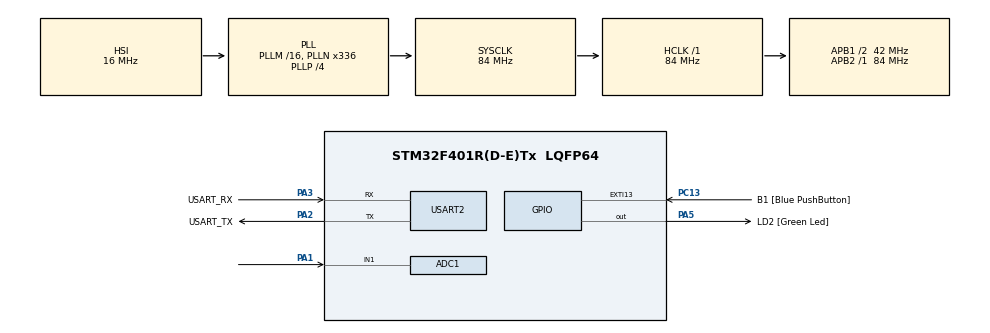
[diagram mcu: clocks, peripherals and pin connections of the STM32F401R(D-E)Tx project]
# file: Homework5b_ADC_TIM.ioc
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ADC1.Channel-0\#ChannelRegularConversion=ADC_CHANNEL_1
ADC1.ExternalTrigConv=ADC_EXTERNALTRIGCONV_T2_TRGO
ADC1.NbrOfConversion=1
ADC1.NbrOfConversionFlag=1
ADC1.Rank-0\#ChannelRegularConversion=1
ADC1.SamplingTime-0\#ChannelRegularConversion=ADC_SAMPLETIME_480CYCLES
ADC1.master=1
Dma.Request0=USART2_TX
Dma.USART2_TX.0.Direction=DMA_MEMORY_TO_PERIPH
Dma.USART2_TX.0.FIFOMode=DMA_FIFOMODE_DISABLE
Dma.USART2_TX.0.Instance=DMA1_Stream6
Dma.USART2_TX.0.MemDataAlignment=DMA_MDATAALIGN_BYTE
Dma.USART2_TX.0.MemInc=DMA_MINC_ENABLE
Dma.USART2_TX.0.Mode=DMA_NORMAL
Dma.USART2_TX.0.PeriphDataAlignment=DMA_PDATAALIGN_BYTE
Dma.USART2_TX.0.PeriphInc=DMA_PINC_DISABLE
Dma.USART2_TX.0.Priority=DMA_PRIORITY_LOW
Mcu.Family=STM32F4
Mcu.Name=STM32F401R(D-E)Tx
Mcu.Package=LQFP64
NVIC.ADC_IRQn=true\:0\:0\:false\:false\:true\:true\:true\:true
NVIC.DMA1_Stream6_IRQn=true\:0\:0\:false\:false\:true\:false\:true\:true
NVIC.PriorityGroup=NVIC_PRIORITYGROUP_0
NVIC.USART2_IRQn=true\:0\:0\:false\:false\:true\:true\:true\:true
PA1.Signal=ADCx_IN1
PA13.GPIO_Label=TMS
PA13.Mode=Serial_Wire
PA13.Signal=SYS_JTMS-SWDIO
PA14.GPIO_Label=TCK
PA14.Mode=Serial_Wire
PA14.Signal=SYS_JTCK-SWCLK
PA2.GPIO_Label=USART_TX
PA2.GPIO_Mode=GPIO_MODE_AF_PP
PA2.GPIO_PuPd=GPIO_NOPULL
PA2.GPIO_Speed=GPIO_SPEED_FREQ_LOW
PA2.Mode=Asynchronous
PA2.Signal=USART2_TX
PA3.GPIO_Label=USART_RX
PA3.GPIO_Mode=GPIO_MODE_AF_PP
PA3.GPIO_PuPd=GPIO_NOPULL
PA3.GPIO_Speed=GPIO_SPEED_FREQ_LOW
PA3.Mode=Asynchronous
PA3.Signal=USART2_RX
PA5.GPIO_Label=LD2 [Green Led]
PA5.GPIO_Mode=GPIO_MODE_OUTPUT_PP
PA5.GPIO_PuPd=GPIO_NOPULL
PA5.GPIO_Speed=GPIO_SPEED_FREQ_LOW
PA5.Signal=GPIO_Output
PB3.GPIO_Label=SWO
PB3.Signal=SYS_JTDO-SWO
PC13-ANTI_TAMP.GPIO_Label=B1 [Blue PushButton]
PC13-ANTI_TAMP.GPIO_ModeDefaultEXTI=GPIO_MODE_IT_FALLING
PC13-ANTI_TAMP.GPIO_PuPd=GPIO_NOPULL
PC13-ANTI_TAMP.Signal=GPXTI13
PC14-OSC32_IN.Mode=LSE-External-Oscillator
PC14-OSC32_IN.Signal=RCC_OSC32_IN
PC15-OSC32_OUT.Mode=LSE-External-Oscillator
PC15-OSC32_OUT.Signal=RCC_OSC32_OUT
PH0\ -\ OSC_IN.Mode=HSE-External-Clock-Source
PH0\ -\ OSC_IN.Signal=RCC_OSC_IN
PH1\ -\ OSC_OUT.Mode=HSE-External-Clock-Source
PH1\ -\ OSC_OUT.Signal=RCC_OSC_OUT
ProjectManager.HeapSize=0x200
ProjectManager.StackSize=0x400
ProjectManager.TargetToolchain=STM32CubeIDE
RCC.48MHZClocksFreq_Value=48000000
RCC.AHBFreq_Value=84000000
RCC.APB1CLKDivider=RCC_HCLK_DIV2
RCC.APB1Freq_Value=42000000
RCC.APB1TimFreq_Value=84000000
RCC.APB2Freq_Value=84000000
RCC.APB2TimFreq_Value=84000000
RCC.CortexFreq_Value=84000000
RCC.HCLKFreq_Value=84000000
RCC.HSE_VALUE=8000000
RCC.HSI_VALUE=16000000
RCC.PLLN=336
RCC.PLLP=RCC_PLLP_DIV4
RCC.PLLQ=7
RCC.SYSCLKFreq_VALUE=84000000
RCC.SYSCLKSource=RCC_SYSCLKSOURCE_PLLCLK
RCC.VCOOutputFreq_Value=336000000
SH.ADCx_IN1.0=ADC1_IN1,IN1
TIM2.Period=10000-1
TIM2.Prescaler=8400-1
TIM2.TIM_MasterOutputTrigger=TIM_TRGO_UPDATE
USART2.VirtualMode=VM_ASYNC
VP_TIM2_VS_ClockSourceINT.Mode=Internal
board=NUCLEO-F401RE

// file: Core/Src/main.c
/* USER CODE BEGIN Header */
/**
  ******************************************************************************
  * @file           : main.c
  * @brief          : Main program body
  ******************************************************************************
  * @attention
  *
  * Copyright (c) 2024 STMicroelectronics.
  * All rights reserved.
  *
  * This software is licensed under terms that can be found in the LICENSE file
  * in the root directory of this software component.
  * If no LICENSE file comes with this software, it is provided AS-IS.
  *
  ******************************************************************************
  * GOAL:
  * acquire the potentiometer voltage using a timer to trigger a conversion at
  * a regular conversion rate of 1 Hz and sending the value to a remote terminal (PC)
  */
/* USER CODE END Header */
#include "main.h"

/* USER CODE BEGIN PD */
#define STR_LEN 64

#define LSB 3.3/4096.0
/* USER CODE END PD */

ADC_HandleTypeDef hadc1;

TIM_HandleTypeDef htim2;

UART_HandleTypeDef huart2;
DMA_HandleTypeDef hdma_usart2_tx;

/* USER CODE BEGIN PV */
char voltage[STR_LEN];

uint32_t dig_value = 0; //storing the digital voltage of the ADC

float an_value = 0.0; // used to display a float for that voltage

int length = 0;
/* USER CODE END PV */

void SystemClock_Config(void);
static void MX_GPIO_Init(void);
static void MX_DMA_Init(void);
static void MX_USART2_UART_Init(void);
static void MX_ADC1_Init(void);
static void MX_TIM2_Init(void);

/* USER CODE BEGIN 0 */

//ISR for the competition of the conversion
void HAL_ADC_ConvCpltCallback(ADC_HandleTypeDef* hadc){
	if(hadc=&hadc1){

		dig_value = HAL_ADC_GetValue(&hadc1); 	//receiving the digital value

		an_value = LSB*dig_value;				//conversion in Volts

		//preparing the string to send
		length = snprintf(voltage, sizeof(voltage), "Voltage: %.3f V\n", an_value);

		HAL_UART_Transmit_DMA(&huart2, voltage, length);

	}

}
/* USER CODE END 0 */

int main(void)
{

  /* MCU Configuration--------------------------------------------------------*/

  /* Reset of all peripherals, Initializes the Flash interface and the Systick. */
  HAL_Init();

  /* Configure the system clock */
  SystemClock_Config();

  /* Initialize all configured peripherals */
  MX_GPIO_Init();
  MX_DMA_Init();
  MX_USART2_UART_Init();
  MX_ADC1_Init();
  MX_TIM2_Init();
  /* USER CODE BEGIN 2 */

  HAL_ADC_Start_IT(&hadc1); //start the adc the first time

  __HAL_TIM_SET_COUNTER(&htim2,0); //setting the counter to zero

  /* starting the timer: timer is directly connected to the ADC (IOC settings):
   *  when the counter rolls up, ADC starts conversion*/
  HAL_TIM_Base_Start(&htim2);
  /* USER CODE END 2 */

  /* Infinite loop */
  while (1)
  {

  }
}

void SystemClock_Config(void)
{
  RCC_OscInitTypeDef RCC_OscInitStruct = {0};
  RCC_ClkInitTypeDef RCC_ClkInitStruct = {0};

  /** Configure the main internal regulator output voltage
  */
  __HAL_RCC_PWR_CLK_ENABLE();
  __HAL_PWR_VOLTAGESCALING_CONFIG(PWR_REGULATOR_VOLTAGE_SCALE2);

  /** Initializes the RCC Oscillators according to the specified parameters
  * in the RCC_OscInitTypeDef structure.
  */
  RCC_OscInitStruct.OscillatorType = RCC_OSCILLATORTYPE_HSI;
  RCC_OscInitStruct.HSIState = RCC_HSI_ON;
  RCC_OscInitStruct.HSICalibrationValue = RCC_HSICALIBRATION_DEFAULT;
  RCC_OscInitStruct.PLL.PLLState = RCC_PLL_ON;
  RCC_OscInitStruct.PLL.PLLSource = RCC_PLLSOURCE_HSI;
  RCC_OscInitStruct.PLL.PLLM = 16;
  RCC_OscInitStruct.PLL.PLLN = 336;
  RCC_OscInitStruct.PLL.PLLP = RCC_PLLP_DIV4;
  RCC_OscInitStruct.PLL.PLLQ = 7;
  if (HAL_RCC_OscConfig(&RCC_OscInitStruct) != HAL_OK)
  {
    Error_Handler();
  }

  /** Initializes the CPU, AHB and APB buses clocks
  */
  RCC_ClkInitStruct.ClockType = RCC_CLOCKTYPE_HCLK|RCC_CLOCKTYPE_SYSCLK
                              |RCC_CLOCKTYPE_PCLK1|RCC_CLOCKTYPE_PCLK2;
  RCC_ClkInitStruct.SYSCLKSource = RCC_SYSCLKSOURCE_PLLCLK;
  RCC_ClkInitStruct.AHBCLKDivider = RCC_SYSCLK_DIV1;
  RCC_ClkInitStruct.APB1CLKDivider = RCC_HCLK_DIV2;
  RCC_ClkInitStruct.APB2CLKDivider = RCC_HCLK_DIV1;

  if (HAL_RCC_ClockConfig(&RCC_ClkInitStruct, FLASH_LATENCY_2) != HAL_OK)
  {
    Error_Handler();
  }
}

static void MX_ADC1_Init(void)
{

  ADC_ChannelConfTypeDef sConfig = {0};

  /** Configure the global features of the ADC (Clock, Resolution, Data Alignment and number of conversion)
  */
  hadc1.Instance = ADC1;
  hadc1.Init.ClockPrescaler = ADC_CLOCK_SYNC_PCLK_DIV4;
  hadc1.Init.Resolution = ADC_RESOLUTION_12B;
  hadc1.Init.ScanConvMode = DISABLE;
  hadc1.Init.ContinuousConvMode = DISABLE;
  hadc1.Init.DiscontinuousConvMode = DISABLE;
  hadc1.Init.ExternalTrigConvEdge = ADC_EXTERNALTRIGCONVEDGE_RISING;
  hadc1.Init.ExternalTrigConv = ADC_EXTERNALTRIGCONV_T2_TRGO;
  hadc1.Init.DataAlign = ADC_DATAALIGN_RIGHT;
  hadc1.Init.NbrOfConversion = 1;
  hadc1.Init.DMAContinuousRequests = DISABLE;
  hadc1.Init.EOCSelection = ADC_EOC_SINGLE_CONV;
  if (HAL_ADC_Init(&hadc1) != HAL_OK)
  {
    Error_Handler();
  }

  /** Configure for the selected ADC regular channel its corresponding rank in the sequencer and its sample time.
  */
  sConfig.Channel = ADC_CHANNEL_1;
  sConfig.Rank = 1;
  sConfig.SamplingTime = ADC_SAMPLETIME_480CYCLES;
  if (HAL_ADC_ConfigChannel(&hadc1, &sConfig) != HAL_OK)
  {
    Error_Handler();
  }

}

static void MX_TIM2_Init(void)
{

  TIM_ClockConfigTypeDef sClockSourceConfig = {0};
  TIM_MasterConfigTypeDef sMasterConfig = {0};

  htim2.Instance = TIM2;
  htim2.Init.Prescaler = 8400-1;
  htim2.Init.CounterMode = TIM_COUNTERMODE_UP;
  htim2.Init.Period = 10000-1;
  htim2.Init.ClockDivision = TIM_CLOCKDIVISION_DIV1;
  htim2.Init.AutoReloadPreload = TIM_AUTORELOAD_PRELOAD_DISABLE;
  if (HAL_TIM_Base_Init(&htim2) != HAL_OK)
  {
    Error_Handler();
  }
  sClockSourceConfig.ClockSource = TIM_CLOCKSOURCE_INTERNAL;
  if (HAL_TIM_ConfigClockSource(&htim2, &sClockSourceConfig) != HAL_OK)
  {
    Error_Handler();
  }
  sMasterConfig.MasterOutputTrigger = TIM_TRGO_UPDATE;
  sMasterConfig.MasterSlaveMode = TIM_MASTERSLAVEMODE_DISABLE;
  if (HAL_TIMEx_MasterConfigSynchronization(&htim2, &sMasterConfig) != HAL_OK)
  {
    Error_Handler();
  }

}

static void MX_USART2_UART_Init(void)
{

  huart2.Instance = USART2;
  huart2.Init.BaudRate = 115200;
  huart2.Init.WordLength = UART_WORDLENGTH_8B;
  huart2.Init.StopBits = UART_STOPBITS_1;
  huart2.Init.Parity = UART_PARITY_NONE;
  huart2.Init.Mode = UART_MODE_TX_RX;
  huart2.Init.HwFlowCtl = UART_HWCONTROL_NONE;
  huart2.Init.OverSampling = UART_OVERSAMPLING_16;
  if (HAL_UART_Init(&huart2) != HAL_OK)
  {
    Error_Handler();
  }

}

static void MX_DMA_Init(void)
{

  /* DMA controller clock enable */
  __HAL_RCC_DMA1_CLK_ENABLE();

  /* DMA interrupt init */
  /* DMA1_Stream6_IRQn interrupt configuration */
  HAL_NVIC_SetPriority(DMA1_Stream6_IRQn, 0, 0);
  HAL_NVIC_EnableIRQ(DMA1_Stream6_IRQn);

}

static void MX_GPIO_Init(void)
{
  GPIO_InitTypeDef GPIO_InitStruct = {0};

  /* GPIO Ports Clock Enable */
  __HAL_RCC_GPIOC_CLK_ENABLE();
  __HAL_RCC_GPIOH_CLK_ENABLE();
  __HAL_RCC_GPIOA_CLK_ENABLE();
  __HAL_RCC_GPIOB_CLK_ENABLE();

  /*Configure GPIO pin Output Level */
  HAL_GPIO_WritePin(LD2_GPIO_Port, LD2_Pin, GPIO_PIN_RESET);

  /*Configure GPIO pin : B1_Pin */
  GPIO_InitStruct.Pin = B1_Pin;
  GPIO_InitStruct.Mode = GPIO_MODE_IT_FALLING;
  GPIO_InitStruct.Pull = GPIO_NOPULL;
  HAL_GPIO_Init(B1_GPIO_Port, &GPIO_InitStruct);

  /*Configure GPIO pin : LD2_Pin */
  GPIO_InitStruct.Pin = LD2_Pin;
  GPIO_InitStruct.Mode = GPIO_MODE_OUTPUT_PP;
  GPIO_InitStruct.Pull = GPIO_NOPULL;
  GPIO_InitStruct.Speed = GPIO_SPEED_FREQ_LOW;
  HAL_GPIO_Init(LD2_GPIO_Port, &GPIO_InitStruct);

}

void Error_Handler(void)
{
  __disable_irq();
  while (1)
  {
  }
}
